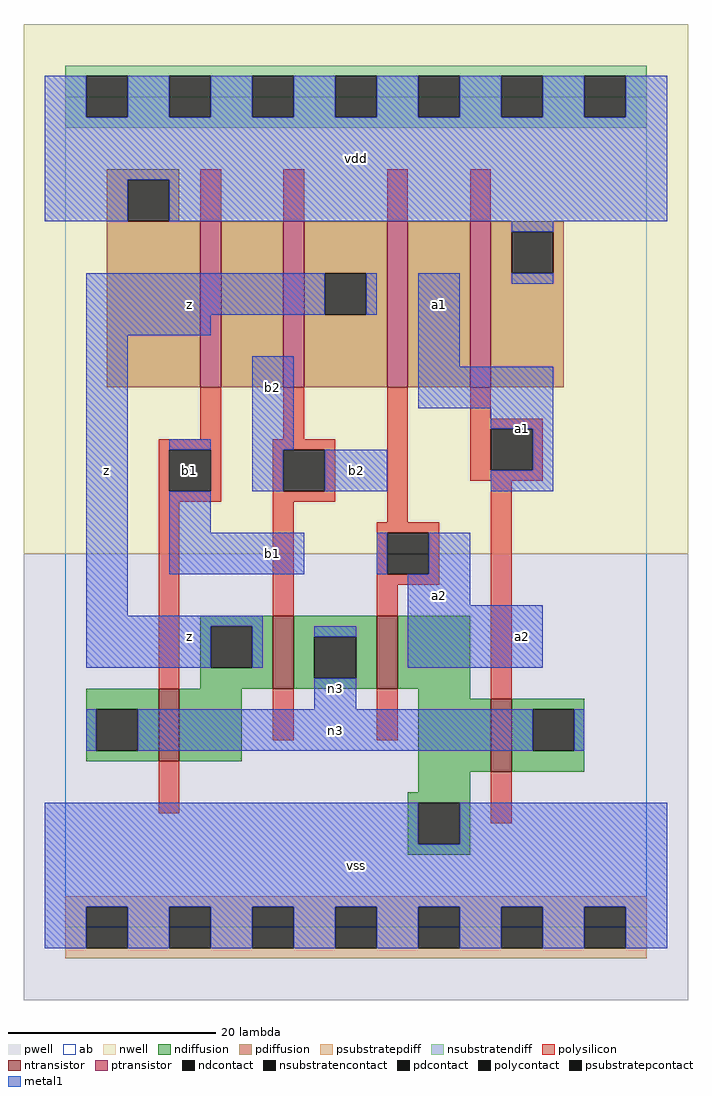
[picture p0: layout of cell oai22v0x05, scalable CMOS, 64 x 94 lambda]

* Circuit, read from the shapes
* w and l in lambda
.subckt oai22v0x05 a1 a2 b1 b2 n3 vdd vss z
M1 z b1 n3 vss nfet w=7 l=2
M2 n3 b2 z vss nfet w=7 l=2
M3 vss a2 n3 vss nfet w=7 l=2
M4 n3 a1 vss vss nfet w=7 l=2
M5 n1 b1 vdd vdd pfet w=16 l=2
M6 z b2 n1 vdd pfet w=16 l=2
M7 n2 a2 z vdd pfet w=16 l=2
M8 vdd a1 n2 vdd pfet w=16 l=2
.ends

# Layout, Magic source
magic
tech scmos
<< ab >>
rect 0 0 56 80
<< pwell >>
rect -4 -7 60 36
<< nwell >>
rect -4 36 60 87
<< polysilicon >>
rect 13 68 15 73
rect 21 68 23 73
rect 31 68 33 73
rect 39 68 41 73
rect 13 47 15 52
rect 21 47 23 52
rect 9 46 15 47
rect 9 42 10 46
rect 14 42 15 46
rect 9 41 15 42
rect 20 46 26 47
rect 20 42 21 46
rect 25 42 26 46
rect 20 41 26 42
rect 9 23 11 41
rect 20 30 22 41
rect 31 39 33 52
rect 39 49 41 52
rect 39 48 46 49
rect 39 44 41 48
rect 45 44 46 48
rect 39 43 46 44
rect 30 38 36 39
rect 30 34 31 38
rect 35 34 36 38
rect 30 33 36 34
rect 30 30 32 33
rect 20 18 22 23
rect 30 18 32 23
rect 41 22 43 43
rect 9 11 11 16
rect 41 10 43 15
<< ndiffusion >>
rect 13 29 20 30
rect 13 25 14 29
rect 18 25 20 29
rect 13 23 20 25
rect 22 28 30 30
rect 22 24 24 28
rect 28 24 30 28
rect 22 23 30 24
rect 32 23 39 30
rect 2 21 9 23
rect 2 17 3 21
rect 7 17 9 21
rect 2 16 9 17
rect 11 16 17 23
rect 34 22 39 23
rect 34 15 41 22
rect 43 21 50 22
rect 43 17 45 21
rect 49 17 50 21
rect 43 15 50 17
rect 34 13 39 15
rect 33 12 39 13
rect 33 8 34 12
rect 38 8 39 12
rect 33 7 39 8
<< pdiffusion >>
rect 4 72 11 73
rect 4 68 6 72
rect 10 68 11 72
rect 4 52 13 68
rect 15 52 21 68
rect 23 63 31 68
rect 23 59 25 63
rect 29 59 31 63
rect 23 52 31 59
rect 33 52 39 68
rect 41 67 48 68
rect 41 63 43 67
rect 47 63 48 67
rect 41 52 48 63
<< metal1 >>
rect -2 78 2 82
rect 6 78 10 82
rect 14 78 18 82
rect 22 78 26 82
rect 30 78 34 82
rect 38 78 42 82
rect 46 78 50 82
rect 54 78 58 82
rect -2 72 58 78
rect -2 68 6 72
rect 10 68 58 72
rect 43 67 47 68
rect 2 59 25 63
rect 29 59 30 63
rect 2 57 14 59
rect 2 30 6 57
rect 10 46 14 47
rect 18 46 22 55
rect 34 54 38 63
rect 43 62 47 63
rect 34 50 47 54
rect 41 48 47 50
rect 18 42 21 46
rect 25 42 31 46
rect 45 44 47 48
rect 41 42 47 44
rect 10 38 14 42
rect 10 34 23 38
rect 30 34 31 38
rect 35 34 39 38
rect 33 31 39 34
rect 2 29 19 30
rect 2 25 14 29
rect 18 25 19 29
rect 24 28 28 29
rect 33 25 46 31
rect 24 21 28 24
rect 2 17 3 21
rect 7 17 45 21
rect 49 17 50 21
rect -2 8 34 12
rect 38 8 58 12
rect -2 2 58 8
rect -2 -2 2 2
rect 6 -2 10 2
rect 14 -2 18 2
rect 22 -2 26 2
rect 30 -2 34 2
rect 38 -2 42 2
rect 46 -2 50 2
rect 54 -2 58 2
<< ntransistor >>
rect 20 23 22 30
rect 30 23 32 30
rect 9 16 11 23
rect 41 15 43 22
<< ptransistor >>
rect 13 52 15 68
rect 21 52 23 68
rect 31 52 33 68
rect 39 52 41 68
<< polycontact >>
rect 10 42 14 46
rect 21 42 25 46
rect 41 44 45 48
rect 31 34 35 38
<< ndcontact >>
rect 14 25 18 29
rect 24 24 28 28
rect 3 17 7 21
rect 45 17 49 21
rect 34 8 38 12
<< pdcontact >>
rect 6 68 10 72
rect 25 59 29 63
rect 43 63 47 67
<< psubstratepcontact >>
rect 2 -2 6 2
rect 10 -2 14 2
rect 18 -2 22 2
rect 26 -2 30 2
rect 34 -2 38 2
rect 42 -2 46 2
rect 50 -2 54 2
<< nsubstratencontact >>
rect 2 78 6 82
rect 10 78 14 82
rect 18 78 22 82
rect 26 78 30 82
rect 34 78 38 82
rect 42 78 46 82
rect 50 78 54 82
<< psubstratepdiff >>
rect 0 2 56 3
rect 0 -2 2 2
rect 6 -2 10 2
rect 14 -2 18 2
rect 22 -2 26 2
rect 30 -2 34 2
rect 38 -2 42 2
rect 46 -2 50 2
rect 54 -2 56 2
rect 0 -3 56 -2
<< nsubstratendiff >>
rect 0 82 56 83
rect 0 78 2 82
rect 6 78 10 82
rect 14 78 18 82
rect 22 78 26 82
rect 30 78 34 82
rect 38 78 42 82
rect 46 78 50 82
rect 54 78 56 82
rect 0 77 56 78
<< labels >>
rlabel metal1 4 44 4 44 6 z
rlabel metal1 12 28 12 28 6 z
rlabel polycontact 12 44 12 44 6 b1
rlabel metal1 12 60 12 60 6 z
rlabel metal1 28 6 28 6 6 vss
rlabel metal1 26 23 26 23 6 n3
rlabel metal1 20 36 20 36 6 b1
rlabel metal1 28 44 28 44 6 b2
rlabel metal1 20 52 20 52 6 b2
rlabel metal1 28 74 28 74 6 vdd
rlabel metal1 44 28 44 28 6 a2
rlabel metal1 36 32 36 32 6 a2
rlabel metal1 44 48 44 48 6 a1
rlabel metal1 36 60 36 60 6 a1
rlabel metal1 26 19 26 19 6 n3
<< end >>
